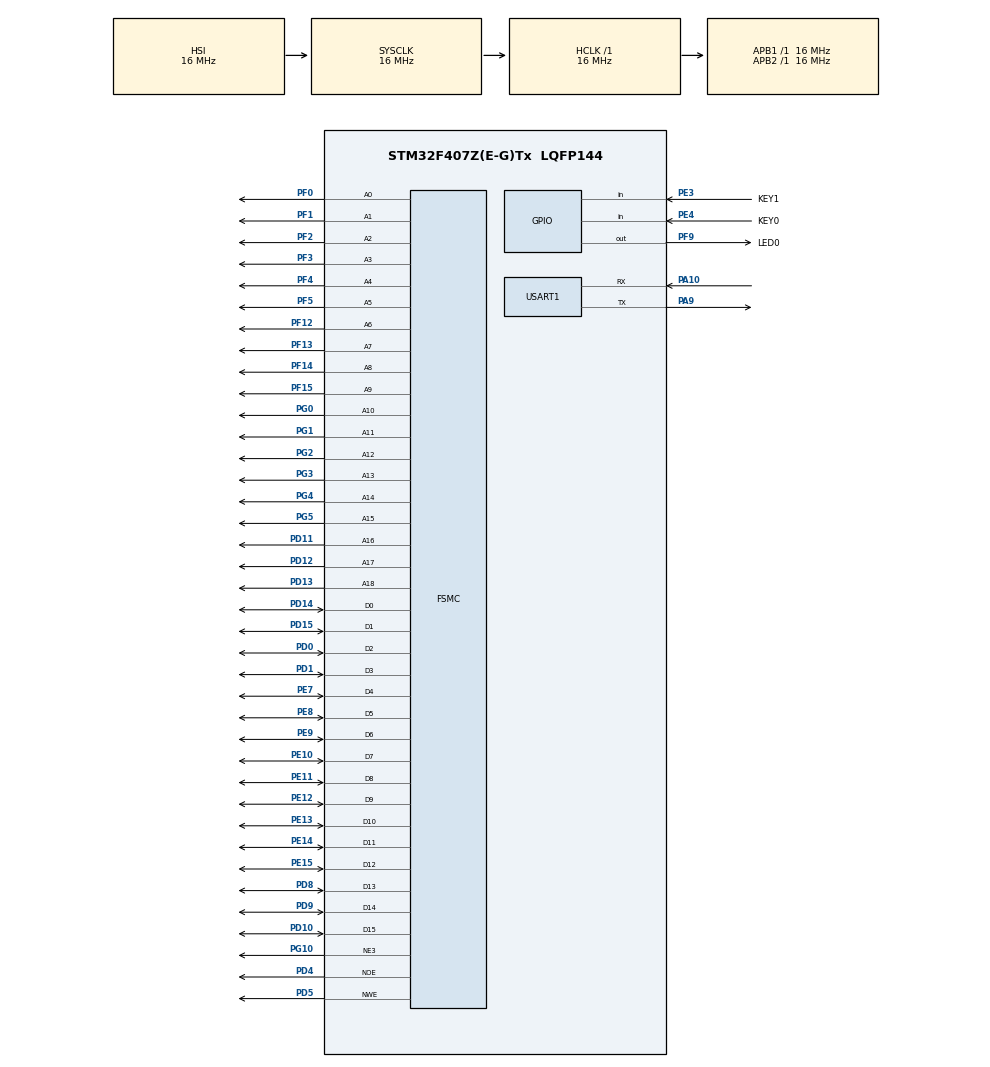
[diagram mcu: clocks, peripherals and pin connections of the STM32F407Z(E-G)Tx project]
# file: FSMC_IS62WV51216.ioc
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FSMC.WriteOperation1=FSMC_WRITE_OPERATION_ENABLE
Mcu.Family=STM32F4
Mcu.Name=STM32F407Z(E-G)Tx
Mcu.Package=LQFP144
NVIC.PriorityGroup=NVIC_PRIORITYGROUP_4
PA10.Mode=Asynchronous
PA10.Signal=USART1_RX
PA9.Mode=Asynchronous
PA9.Signal=USART1_TX
PC14-OSC32_IN.Mode=LSE-External-Oscillator
PC14-OSC32_IN.Signal=RCC_OSC32_IN
PC15-OSC32_OUT.Mode=LSE-External-Oscillator
PC15-OSC32_OUT.Signal=RCC_OSC32_OUT
PD0.Signal=FSMC_D2_DA2
PD1.Signal=FSMC_D3_DA3
PD10.Signal=FSMC_D15_DA15
PD11.Signal=FSMC_A16_CLE
PD12.Signal=FSMC_A17_ALE
PD13.Signal=FSMC_A18
PD14.Signal=FSMC_D0_DA0
PD15.Signal=FSMC_D1_DA1
PD4.Signal=FSMC_NOE
PD5.Signal=FSMC_NWE
PD8.Signal=FSMC_D13_DA13
PD9.Signal=FSMC_D14_DA14
PE0.Signal=FSMC_NBL0
PE1.Signal=FSMC_NBL1
PE10.Signal=FSMC_D7_DA7
PE11.Signal=FSMC_D8_DA8
PE12.Signal=FSMC_D9_DA9
PE13.Signal=FSMC_D10_DA10
PE14.Signal=FSMC_D11_DA11
PE15.Signal=FSMC_D12_DA12
PE3.GPIO_Label=KEY1
PE3.GPIO_PuPd=GPIO_PULLUP
PE3.Signal=GPIO_Input
PE4.GPIO_Label=KEY0
PE4.GPIO_PuPd=GPIO_PULLUP
PE4.Signal=GPIO_Input
PE7.Signal=FSMC_D4_DA4
PE8.Signal=FSMC_D5_DA5
PE9.Signal=FSMC_D6_DA6
PF0.Signal=FSMC_A0
PF1.Signal=FSMC_A1
PF12.Signal=FSMC_A6
PF13.Signal=FSMC_A7
PF14.Signal=FSMC_A8
PF15.Signal=FSMC_A9
PF2.Signal=FSMC_A2
PF3.Signal=FSMC_A3
PF4.Signal=FSMC_A4
PF5.Signal=FSMC_A5
PF9.GPIO_Label=LED0
PF9.Signal=GPIO_Output
PG0.Signal=FSMC_A10
PG1.Signal=FSMC_A11
PG10.Mode=NorPsramChipSelect3_1
PG10.Signal=FSMC_NE3
PG2.Signal=FSMC_A12
PG3.Signal=FSMC_A13
PG4.Signal=FSMC_A14
PG5.Signal=FSMC_A15
PH0-OSC_IN.Mode=HSE-External-Oscillator
PH0-OSC_IN.Signal=RCC_OSC_IN
PH1-OSC_OUT.Mode=HSE-External-Oscillator
PH1-OSC_OUT.Signal=RCC_OSC_OUT
ProjectManager.HeapSize=0x200
ProjectManager.StackSize=0x400
ProjectManager.TargetToolchain=MDK-ARM V5
RCC.AHBFreq_Value=16000000
RCC.APB1Freq_Value=16000000
RCC.APB2Freq_Value=16000000
RCC.CortexFreq_Value=16000000
RCC.HSE_VALUE=25000000
RCC.HSI_VALUE=16000000
RCC.SYSCLKFreq_VALUE=16000000
RCC.VCOOutputFreq_Value=192000000
SH.FSMC_A0.0=FSMC_A0,19b-a1
SH.FSMC_A1.0=FSMC_A1,19b-a1
SH.FSMC_A10.0=FSMC_A10,19b-a1
SH.FSMC_A11.0=FSMC_A11,19b-a1
SH.FSMC_A12.0=FSMC_A12,19b-a1
SH.FSMC_A13.0=FSMC_A13,19b-a1
SH.FSMC_A14.0=FSMC_A14,19b-a1
SH.FSMC_A15.0=FSMC_A15,19b-a1
SH.FSMC_A16_CLE.0=FSMC_A16,19b-a1
SH.FSMC_A17_ALE.0=FSMC_A17,19b-a1
SH.FSMC_A18.0=FSMC_A18,19b-a1
SH.FSMC_A2.0=FSMC_A2,19b-a1
SH.FSMC_A3.0=FSMC_A3,19b-a1
SH.FSMC_A4.0=FSMC_A4,19b-a1
SH.FSMC_A5.0=FSMC_A5,19b-a1
SH.FSMC_A6.0=FSMC_A6,19b-a1
SH.FSMC_A7.0=FSMC_A7,19b-a1
SH.FSMC_A8.0=FSMC_A8,19b-a1
SH.FSMC_A9.0=FSMC_A9,19b-a1
SH.FSMC_D0_DA0.0=FSMC_D0,16b-d1
SH.FSMC_D10_DA10.0=FSMC_D10,16b-d1
SH.FSMC_D11_DA11.0=FSMC_D11,16b-d1
SH.FSMC_D12_DA12.0=FSMC_D12,16b-d1
SH.FSMC_D13_DA13.0=FSMC_D13,16b-d1
SH.FSMC_D14_DA14.0=FSMC_D14,16b-d1
SH.FSMC_D15_DA15.0=FSMC_D15,16b-d1
SH.FSMC_D1_DA1.0=FSMC_D1,16b-d1
SH.FSMC_D2_DA2.0=FSMC_D2,16b-d1
SH.FSMC_D3_DA3.0=FSMC_D3,16b-d1
SH.FSMC_D4_DA4.0=FSMC_D4,16b-d1
SH.FSMC_D5_DA5.0=FSMC_D5,16b-d1
SH.FSMC_D6_DA6.0=FSMC_D6,16b-d1
SH.FSMC_D7_DA7.0=FSMC_D7,16b-d1
SH.FSMC_D8_DA8.0=FSMC_D8,16b-d1
SH.FSMC_D9_DA9.0=FSMC_D9,16b-d1
SH.FSMC_NBL0.0=FSMC_NBL0
SH.FSMC_NBL1.0=FSMC_NBL1
SH.FSMC_NOE.0=FSMC_NOE,Sram1
SH.FSMC_NWE.0=FSMC_NWE,Sram1
USART1.VirtualMode=VM_ASYNC
board=custom

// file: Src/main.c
/* USER CODE BEGIN Header */
/**
  ******************************************************************************
  * @file           : main.c
  * @brief          : Main program body
  ******************************************************************************
  * @attention
  *
  * <h2><center>&copy; Copyright (c) 2020 STMicroelectronics.
  * All rights reserved.</center></h2>
  *
  * This software component is licensed by ST under BSD 3-Clause license,
  * the "License"; You may not use this file except in compliance with the
  * License. You may obtain a copy of the License at:
  *                        opensource.org/licenses/BSD-3-Clause
  *
  ******************************************************************************
  */
/* USER CODE END Header */

#include "main.h"
#include "usart.h"
#include "gpio.h"
#include "fsmc.h"

/* USER CODE BEGIN Includes */
#include "key.h"
#include "sram.h"
/* USER CODE END Includes */

void SystemClock_Config(void);

/* USER CODE BEGIN 0 */
u32 testsram[250000] __attribute__((at(0X68000000)));//测试用数组
//外部内存测试(最大支持1M字节内存测试)
void fsmc_sram_test(void)
{
	u32 i=0;
	u8 temp=0;
	u8 sval=0;	//在地址0读到的数据

	//每隔4K字节,写入一个数据,总共写入256个数据,刚好是1M字节
	for(i=0;i<1024*1024;i+=4096)
	{
		FSMC_SRAM_WriteBuffer(&temp,i,1);
		temp++;
	}
	//依次读出之前写入的数据,进行校验
 	for(i=0;i<1024*1024;i+=4096)
	{
  		FSMC_SRAM_ReadBuffer(&temp,i,1);
		if(i==0)sval=temp;
 		else if(temp<=sval)break;//后面读出的数据一定要比第一次读到的数据大.
		printf("%d",temp);
 	}
}
/* USER CODE END 0 */

int main(void)
{
  /* USER CODE BEGIN 1 */
   u8 key;
 	 u8 i=0;
  /* USER CODE END 1 */

  /* MCU Configuration--------------------------------------------------------*/

  /* Reset of all peripherals, Initializes the Flash interface and the Systick. */
  HAL_Init();

  /* Configure the system clock */
  SystemClock_Config();

  /* Initialize all configured peripherals */
  MX_GPIO_Init();
  MX_FSMC_Init();
  MX_USART1_UART_Init();

  /* Infinite loop */
  while (1)
  {

    /* USER CODE BEGIN 3 */
		key=KEY_Scan(0);
		if(key==KEY0_PRES)fsmc_sram_test();//测试SRAM容量
			i++;
			HAL_Delay(10);
			if(i==20)
			{
				HAL_GPIO_TogglePin(LED0_GPIO_Port,LED0_Pin);//提示系统正在运行
				i=0;
			}
  }
  /* USER CODE END 3 */
}

void SystemClock_Config(void)
{
  RCC_OscInitTypeDef RCC_OscInitStruct = {0};
  RCC_ClkInitTypeDef RCC_ClkInitStruct = {0};

  /** Configure the main internal regulator output voltage
  */
  __HAL_RCC_PWR_CLK_ENABLE();
  __HAL_PWR_VOLTAGESCALING_CONFIG(PWR_REGULATOR_VOLTAGE_SCALE1);
  /** Initializes the CPU, AHB and APB busses clocks
  */
  RCC_OscInitStruct.OscillatorType = RCC_OSCILLATORTYPE_HSI;
  RCC_OscInitStruct.HSIState = RCC_HSI_ON;
  RCC_OscInitStruct.HSICalibrationValue = RCC_HSICALIBRATION_DEFAULT;
  RCC_OscInitStruct.PLL.PLLState = RCC_PLL_NONE;
  if (HAL_RCC_OscConfig(&RCC_OscInitStruct) != HAL_OK)
  {
    Error_Handler();
  }
  /** Initializes the CPU, AHB and APB busses clocks
  */
  RCC_ClkInitStruct.ClockType = RCC_CLOCKTYPE_HCLK|RCC_CLOCKTYPE_SYSCLK
                              |RCC_CLOCKTYPE_PCLK1|RCC_CLOCKTYPE_PCLK2;
  RCC_ClkInitStruct.SYSCLKSource = RCC_SYSCLKSOURCE_HSI;
  RCC_ClkInitStruct.AHBCLKDivider = RCC_SYSCLK_DIV1;
  RCC_ClkInitStruct.APB1CLKDivider = RCC_HCLK_DIV1;
  RCC_ClkInitStruct.APB2CLKDivider = RCC_HCLK_DIV1;

  if (HAL_RCC_ClockConfig(&RCC_ClkInitStruct, FLASH_LATENCY_0) != HAL_OK)
  {
    Error_Handler();
  }
}

void Error_Handler(void)
{
}

/************************ (C) COPYRIGHT STMicroelectronics *****END OF FILE****/
